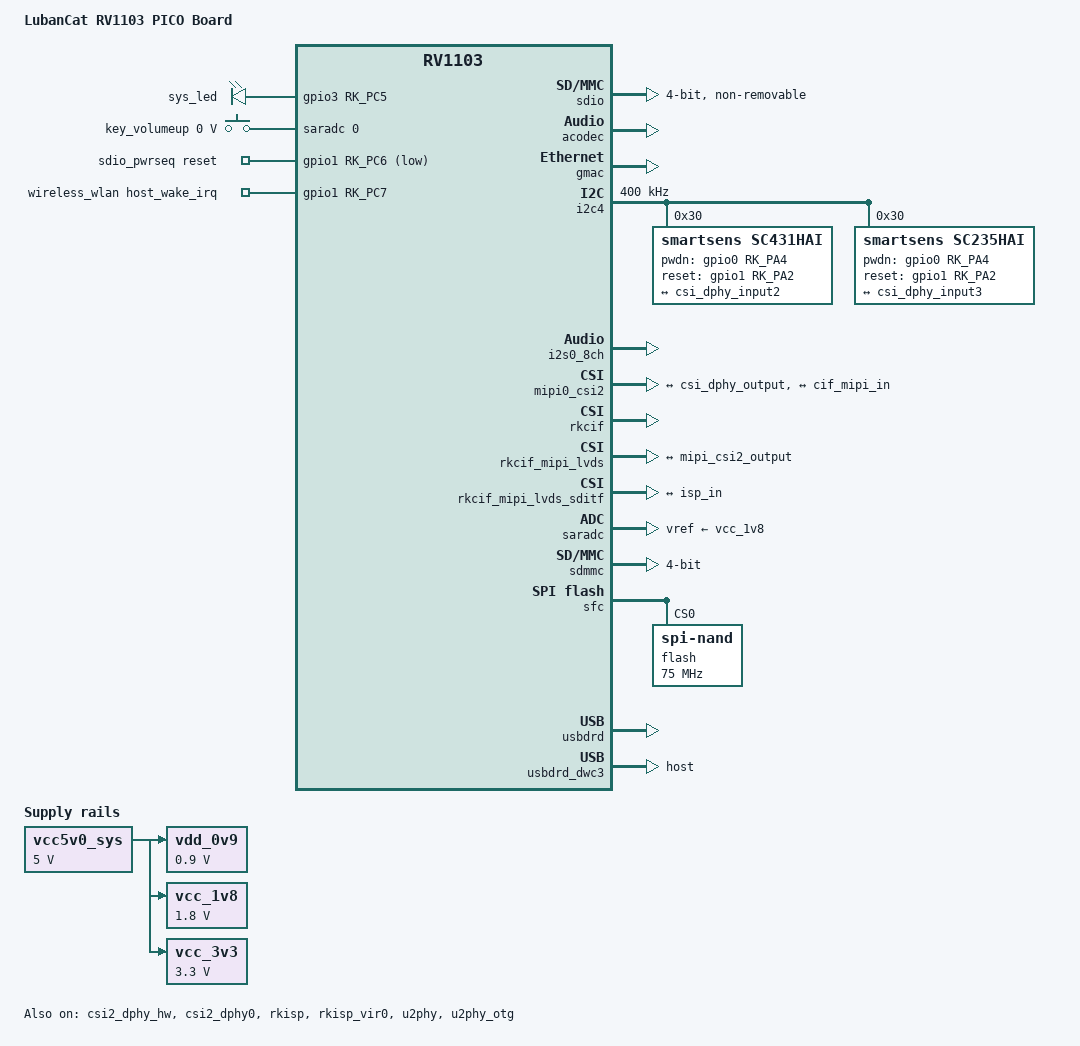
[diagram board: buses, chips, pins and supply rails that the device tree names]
// SPDX-License-Identifier: (GPL-2.0+ OR MIT)
/*
 * Copyright (c) 2022 Rockchip Electronics Co., Ltd.
 */

/dts-v1/;

#include "rv1103.dtsi"
#include "rv1106-evb.dtsi"

/ {
	model = "LubanCat RV1103 PICO Board";
	compatible = "embedfire,rv1103g-lubancat-pico", "rockchip,rv1103";

	chosen {
		bootargs = "earlycon=uart8250,mmio32,0xff4c0000 console=ttyFIQ0 root=/dev/mmcblk1p5 rootwait snd_soc_core.prealloc_buffer_size_kbytes=16 coherent_pool=0";
	};

	acodec_sound: acodec-sound {
		compatible = "simple-audio-card";
		simple-audio-card,name = "rv-acodec";
		simple-audio-card,format = "i2s";
		simple-audio-card,mclk-fs = <256>;
		simple-audio-card,cpu {
			sound-dai = <&i2s0_8ch>;
		};
		simple-audio-card,codec {
			sound-dai = <&acodec>;
		};
	};

	leds: leds {
		status = "okay";
		compatible = "gpio-leds";

		sys_led: sys-led {
			label = "sys_led";
			linux,default-trigger = "heartbeat";
			default-state = "on";
			gpios = <&gpio3 RK_PC5 GPIO_ACTIVE_HIGH>;
		};
	};

	vcc5v0_sys: vcc5v0-sys {
		compatible = "regulator-fixed";
		regulator-name = "vcc5v0_sys";
		regulator-always-on;
		regulator-boot-on;
		regulator-min-microvolt = <5000000>;
		regulator-max-microvolt = <5000000>;
	};

	vdd_0v9: vdd-0v9 {
		compatible = "regulator-fixed";
		regulator-name = "vdd_0v9";
		regulator-always-on;
		regulator-boot-on;
		regulator-min-microvolt = <900000>;
		regulator-max-microvolt = <900000>;
		vin-supply = <&vcc5v0_sys>;
	};

	vcc_1v8: vcc-1v8 {
		compatible = "regulator-fixed";
		regulator-name = "vcc_1v8";
		regulator-always-on;
		regulator-boot-on;
		regulator-min-microvolt = <1800000>;
		regulator-max-microvolt = <1800000>;
		vin-supply = <&vcc5v0_sys>;
	};

	vcc_3v3: vcc-3v3 {
		compatible = "regulator-fixed";
		regulator-name = "vcc_3v3";
		regulator-always-on;
		regulator-boot-on;
		regulator-min-microvolt = <3300000>;
		regulator-max-microvolt = <3300000>;
		vin-supply = <&vcc5v0_sys>;
	};

	adc-keys {
		compatible = "adc-keys";
		io-channels = <&saradc 0>;
		io-channel-names = "buttons";
		poll-interval = <100>;
		keyup-threshold-microvolt = <1800000>;

		key_volumeup-key {
			label = "key_volumeup";
			linux,code = <KEY_VOLUMEUP>;
			press-threshold-microvolt = <0>;
		};
	};

	sdio_pwrseq: sdio-pwrseq {
		compatible = "mmc-pwrseq-simple";
		pinctrl-names = "default";
		pinctrl-0 = <&wifi_enable_h>;
		reset-gpios = <&gpio1 RK_PC6 GPIO_ACTIVE_LOW>;
	};

	wireless_wlan: wireless-wlan {
		compatible = "wlan-platdata";
		wifi_chip_type = "aic8800";
		// pinctrl-names = "default";
		// pinctrl-0 = <&wifi_host_wake_irq>;
		WIFI,host_wake_irq = <&gpio1 RK_PC7 GPIO_ACTIVE_HIGH>;
		status = "okay";
	};

};

&sdio {
	max-frequency = <50000000>;
	no-sd;
	no-mmc;
	bus-width = <4>;
	cap-sd-highspeed;
	cap-sdio-irq;
	keep-power-in-suspend;
	mmc-pwrseq = <&sdio_pwrseq>;
	non-removable;
	pinctrl-names = "default";
	pinctrl-0 = <&sdmmc1m1_cmd &sdmmc1m1_clk &sdmmc1m1_bus4>;
	status = "okay";
};

&acodec {
	#sound-dai-cells = <0>;
	status = "okay";
};

&cpu0 {
	cpu-supply = <&vdd_0v9>;
};

&csi2_dphy_hw {
	status = "okay";
};

&csi2_dphy0 {
	status = "okay";

	ports {
		#address-cells = <1>;
		#size-cells = <0>;

		port@0 {
			reg = <0>;
			#address-cells = <1>;
			#size-cells = <0>;

			csi_dphy_input2: endpoint@2 {
				reg = <2>;
				remote-endpoint = <&sc431hai_out>;
				data-lanes = <1 2>;
			};

			csi_dphy_input3: endpoint@3 {
				reg = <3>;
				remote-endpoint = <&sc235hai_out>;
				data-lanes = <1 2>;
			};
			
		};

		port@1 {
			reg = <1>;
			#address-cells = <1>;
			#size-cells = <0>;

			csi_dphy_output: endpoint@0 {
				reg = <0>;
				remote-endpoint = <&mipi_csi2_input>;
			};
		};
	};
};

&gmac {
	status = "okay";
};

&i2c4 {
	status = "okay";
	clock-frequency = <400000>;
	pinctrl-names = "default";
	pinctrl-0 = <&i2c4m2_xfer>;

	sc431hai: sc431hai@30 {
		compatible = "smartsens,sc431hai";
		status = "okay";
		reg = <0x30>;
		clocks = <&cru MCLK_REF_MIPI0>;
		clock-names = "xvclk";
		pwdn-gpios = <&gpio0 RK_PA4 GPIO_ACTIVE_HIGH>;
		reset-gpios = <&gpio1 RK_PA2 GPIO_ACTIVE_HIGH>;
		pinctrl-names = "default";
		pinctrl-0 = <&mipi_refclk_out0>;
		rockchip,camera-module-index = <0>;
		rockchip,camera-module-facing = "back";
		rockchip,camera-module-name = "CMK-OT2115-PC1";
		rockchip,camera-module-lens-name = "30IRC-F16";
		port {
			sc431hai_out: endpoint {
				remote-endpoint = <&csi_dphy_input2>;
				data-lanes = <1 2>;
			};
		};
	};

	sc235hai: sc235hai@30 {
		compatible = "smartsens,sc235hai";
		status = "okay";
		reg = <0x30>;
		clocks = <&cru MCLK_REF_MIPI0>;
		clock-names = "xvclk";
		pwdn-gpios = <&gpio0 RK_PA4 GPIO_ACTIVE_HIGH>;
		reset-gpios = <&gpio1 RK_PA2 GPIO_ACTIVE_HIGH>;
		pinctrl-names = "rockchip,camera_default";
		pinctrl-0 = <&mipi_refclk_out0>;
		rockchip,camera-module-index = <0>;
		rockchip,camera-module-facing = "back";
		rockchip,camera-module-name = "CMK-OT2115-PC1";
		rockchip,camera-module-lens-name = "30IRC-F16";
		port {
			sc235hai_out: endpoint {
				remote-endpoint = <&csi_dphy_input3>;
				data-lanes = <1 2>;
			};
		};
	};
};

&i2s0_8ch {
	#sound-dai-cells = <0>;
	status = "okay";
};

&mipi0_csi2 {
	status = "okay";

	ports {
		#address-cells = <1>;
		#size-cells = <0>;

		port@0 {
			reg = <0>;
			#address-cells = <1>;
			#size-cells = <0>;

			mipi_csi2_input: endpoint@1 {
				reg = <1>;
				remote-endpoint = <&csi_dphy_output>;
			};
		};

		port@1 {
			reg = <1>;
			#address-cells = <1>;
			#size-cells = <0>;

			mipi_csi2_output: endpoint@0 {
				reg = <0>;
				remote-endpoint = <&cif_mipi_in>;
			};
		};
	};
};

&rkcif {
	status = "okay";
};

&rkcif_mipi_lvds {
	status = "okay";

	pinctrl-names = "default";
	pinctrl-0 = <&mipi_pins>;
	port {
		/* MIPI CSI-2 endpoint */
		cif_mipi_in: endpoint {
			remote-endpoint = <&mipi_csi2_output>;
		};
	};
};

&rkcif_mipi_lvds_sditf {
	status = "okay";

	port {
		/* MIPI CSI-2 endpoint */
		mipi_lvds_sditf: endpoint {
			remote-endpoint = <&isp_in>;
		};
	};
};

&rkisp {
	status = "okay";
};

&rkisp_vir0 {
	status = "okay";

	port@0 {
		isp_in: endpoint {
			remote-endpoint = <&mipi_lvds_sditf>;
		};
	};
};

&saradc {
	status = "okay";
	vref-supply = <&vcc_1v8>;
};

&sdmmc {
    max-frequency = <50000000>;
    no-sdio;
    no-mmc;
    bus-width = <4>;
    cap-mmc-highspeed;
    cap-sd-highspeed;
    disable-wp;
    pinctrl-names = "default";
    pinctrl-0 = <&sdmmc0_clk &sdmmc0_cmd &sdmmc0_det &sdmmc0_bus4>;
    status = "okay";
};

&sfc {
	status = "okay";

	flash@0 {
		compatible = "spi-nand";
		reg = <0>;
		spi-max-frequency = <75000000>;
		spi-rx-bus-width = <4>;
		spi-tx-bus-width = <1>;
	};
};

&u2phy {
	status = "okay";
};

&u2phy_otg {
	status = "okay";
};

&usbdrd {
	status = "okay";
};

&usbdrd_dwc3 {
	extcon = <&u2phy>;
	dr_mode = "host";
	status = "okay";
};


&pinctrl {
	wireless-bluetooth {
		uart5_rts_gpio: uart5-rts-gpio {
			rockchip,pins = <1 RK_PD0 RK_FUNC_GPIO &pcfg_pull_none>;
		};
	};

	sdio-pwrseq {
		wifi_enable_h: wifi-enable-h {
			rockchip,pins = <1 RK_PC6 RK_FUNC_GPIO &pcfg_pull_none>;
		};
	};

	wireless-wlan {
		wifi_host_wake_irq: wifi-host-wake-irq {
			rockchip,pins = <1 RK_PC7 RK_FUNC_GPIO &pcfg_pull_none>;
		};
	};
};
